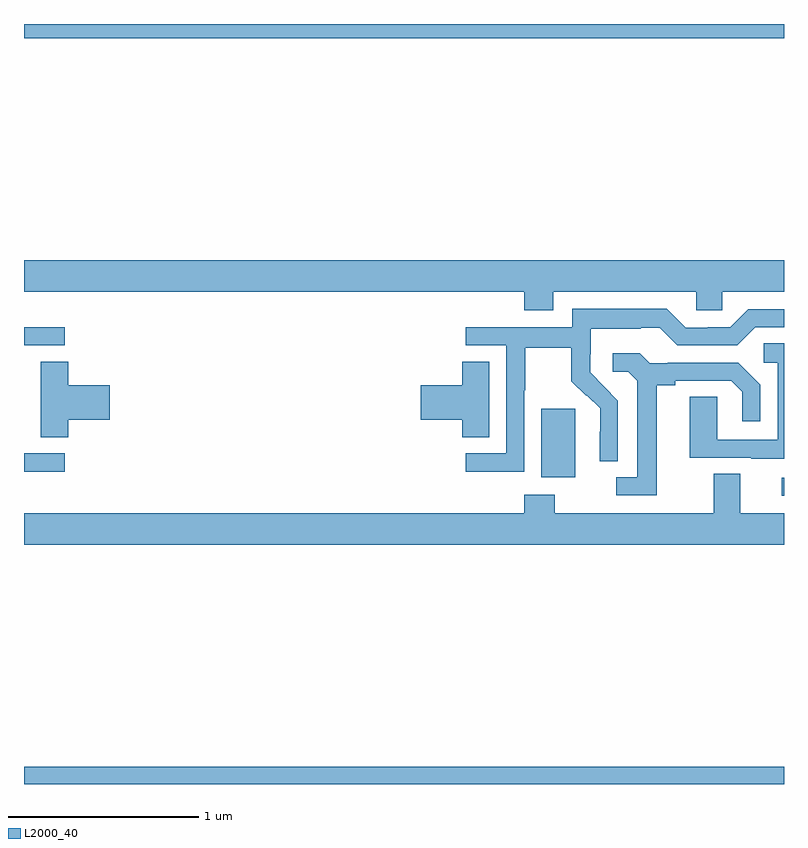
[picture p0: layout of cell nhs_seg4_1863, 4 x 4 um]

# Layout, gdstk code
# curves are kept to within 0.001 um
import gdstk
lib = gdstk.Library(unit=1e-6, precision=1e-09)
def R(c, l, rs):  # rectangles x0, y0, x1, y1
    for r in rs: c.add(gdstk.rectangle(r[:2], r[2:], *l))
def P(c, l, *ps):  # polygons
    for p in ps: c.add(gdstk.Polygon(p, *l))
L2000_40 = (2000, 40)

nhs_seg4_1863 = lib.new_cell('nhs_seg4_1863')
R(nhs_seg4_1863, L2000_40, [(207,788.9,211,788.992), (210.987,790.416,211,790.512), (209.723,790.514,209.902,790.875), (207,790.543,207.214,790.641), (207,791.208,207.214,791.304), (207,792.824,211,792.9)])
P(nhs_seg4_1863, L2000_40, [(209.785,791.492),(210.537,791.492),(210.537,791.394),(210.675,791.394),(210.675,791.492),(211,791.492),(211,791.656),(207,791.656),(207,791.492),(209.633,791.492),(209.633,791.393),(209.785,791.393)],
  [(209.634,790.972),(209.637,790.972),(209.637,791.196),(209.881,791.196),(209.881,791.021),(209.958,790.944),(209.961,790.947),(210.032,790.877),(210.032,790.754),(210.03,790.754),(210.03,790.6),(210.126,790.6),(210.126,790.918),(209.98,791.066),(209.98,791.163),(209.982,791.163),(209.982,791.297),(210.245,791.297),(210.245,791.301),(210.345,791.301),(210.438,791.208),(210.753,791.208),(210.849,791.304),(211,791.304),(211,791.4),(210.813,791.4),(210.717,791.304),(210.599,791.304),(210.599,791.301),(210.483,791.301),(210.383,791.401),(209.886,791.401),(209.886,791.304),(209.325,791.304),(209.325,791.208),(209.538,791.208),(209.538,790.641),(209.325,790.641),(209.325,790.543),(209.634,790.543)],
  [(211,791.219),(210.894,791.219),(210.894,791.118),(210.966,791.118),(210.966,790.713),(210.648,790.713),(210.648,790.937),(210.503,790.937),(210.503,790.617),(210.827,790.617),(210.827,790.613),(211,790.613)],
  [(210.331,791),(210.427,791),(210.427,791.022),(210.722,791.022),(210.779,790.965),(210.779,790.809),(210.876,790.809),(210.876,791.002),(210.76,791.118),(210.388,791.118),(210.388,791.115),(210.294,791.115),(210.242,791.167),(210.099,791.167),(210.099,791.07),(210.18,791.07),(210.227,791.023),(210.227,790.515),(210.117,790.515),(210.117,790.419),(210.331,790.419)],
  [(209.449,791.123),(209.306,791.123),(209.306,791),(209.088,791),(209.088,790.817),(209.306,790.817),(209.306,790.726),(209.449,790.726)],
  [(207.233,790.817),(207.451,790.817),(207.451,791),(207.233,791),(207.233,791.123),(207.089,791.123),(207.089,790.726),(207.233,790.726)],
  [(210.629,790.532),(210.629,790.324),(209.793,790.324),(209.793,790.423),(209.633,790.423),(209.633,790.324),(207,790.324),(207,790.16),(211,790.16),(211,790.324),(210.769,790.324),(210.769,790.532)])

lib.write_gds('nhs_seg4_1863.gds')
